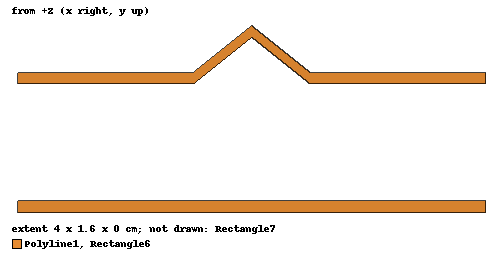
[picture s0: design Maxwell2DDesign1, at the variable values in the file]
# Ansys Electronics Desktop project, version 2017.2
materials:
  vacuum: permittivity=1
  copper: permeability=0.999991 conductivity=58000000
  air: permittivity=1.0006 permeability=1.0000004

design Maxwell2DDesign1 (Maxwell 2D, Electrostatic, XY geometry, model units cm)
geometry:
  Rectangle6 [copper] = rectangle(corner=(-2cm, -0.1cm, 0cm), x_size=4cm, y_size=0.1cm)
  Polyline1 [copper] = polyline(z=0cm, xy in cm: (-2, 1) (-2, 1.1) (-0.5, 1.1) (0, 1.5) (0.5, 1.1) (2, 1.1) (2, 1) (0.5, 1) (0, 1.4) (-0.5, 1) (-2, 1), closed, covered)
  Rectangle7 [air] = rectangle(corner=(-4cm, -2.2cm, 0cm), x_size=8cm, y_size=5.8cm)
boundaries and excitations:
  Voltage1: Voltage Objects=Rectangle6 Value=0V
  Voltage2: Voltage Objects=Polyline1 Value=1V
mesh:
  initial mesh: GlobalSurfApproximation{CurvedSurfaceApproxChoice=UseSlider SliderMeshSettings=9} MeshMethod=AnsoftClassic
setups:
  Setup1: Electrostatic MaximumPasses=10 MinimumPasses=2 MinimumConvergedPasses=1 PercentRefinement=30 PercentError=0.1 NonLinearResidual=0.001
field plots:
  Voltage1: Voltage over Rectangle7 on Setup1 : LastAdaptive
